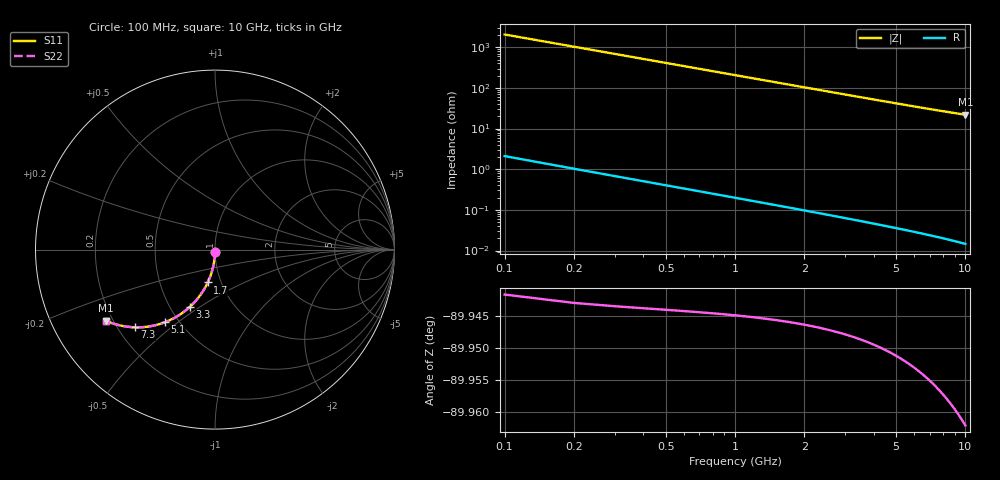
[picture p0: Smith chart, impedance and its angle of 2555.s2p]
# Hz S RI R 50.00
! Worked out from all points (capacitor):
!   100 points, 100 MHz to 10 GHz, reference 50 ohm
!   read as one part in shunt: C = 770 fF near 100 MHz
!   lowest |Z| = 21.9 ohm at 10 GHz (marker M1)
!   S11 on the Smith chart (normalised r, x): 100 MHz: 1.00, -0.02; 1.7 GHz: 0.86, -0.33; 3.3 GHz: 0.63, -0.45; 5.1 GHz: 0.42, -0.45; 7.3 GHz: 0.27, -0.38; 10 GHz: 0.17, -0.29
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1e8  8.99e-05 -0.0112  0.9996 -0.013  0.9996 -0.013  8.99e-05 -0.0112
2e8  -0.000357 -0.0225  0.9991 -0.0259  0.9991 -0.0259  -0.000357 -0.0225
3e8  -0.00109 -0.0337  0.9984 -0.0388  0.9984 -0.0388  -0.00109 -0.0337
4e8  -0.00212 -0.0448  0.9974 -0.0517  0.9974 -0.0517  -0.00212 -0.0448
5e8  -0.00344 -0.056  0.996 -0.0646  0.996 -0.0646  -0.00344 -0.056
6e8  -0.00503 -0.0671  0.9944 -0.0774  0.9944 -0.0774  -0.00503 -0.0671
8e8  -0.00908 -0.089  0.9903 -0.1028  0.9903 -0.1028  -0.00908 -0.089
1.1e9  -0.0172 -0.1214  0.9821 -0.1403  0.9821 -0.1403  -0.0172 -0.1214
1.4e9  -0.0277 -0.1528  0.9715 -0.1769  0.9715 -0.1769  -0.0277 -0.1528
1.7e9  -0.0405 -0.183  0.9586 -0.2123  0.9586 -0.2123  -0.0405 -0.183
1.8e9  -0.0452 -0.1928  0.9538 -0.2238  0.9538 -0.2238  -0.0452 -0.1928
2.1e9  -0.0606 -0.2211  0.9382 -0.2573  0.9382 -0.2573  -0.0606 -0.2211
2.5e9  -0.084 -0.2564  0.9145 -0.2995  0.9145 -0.2995  -0.084 -0.2564
3.3e9  -0.1384 -0.3174  0.8595 -0.3744  0.8595 -0.3744  -0.1384 -0.3174
3.4e9  -0.1457 -0.3241  0.852 -0.3829  0.852 -0.3829  -0.1457 -0.3241
4.2e9  -0.2075 -0.3697  0.7893 -0.4426  0.7893 -0.4426  -0.2075 -0.3697
5.1e9  -0.2799 -0.4051  0.7156 -0.4939  0.7156 -0.4939  -0.2799 -0.4051
5.9e9  -0.3437 -0.4238  0.6504 -0.527  0.6504 -0.527  -0.3437 -0.4238
6.7e9  -0.4048 -0.4322  0.5877 -0.5499  0.5877 -0.5499  -0.4048 -0.4322
7.3e9  -0.448 -0.4328  0.5431 -0.5615  0.5431 -0.5615  -0.448 -0.4328
8.4e9  -0.5205 -0.4241  0.4677 -0.5734  0.4677 -0.5734  -0.5205 -0.4241
1e10  -0.6094 -0.3954  0.3736 -0.5752  0.3736 -0.5752  -0.6094 -0.3954
